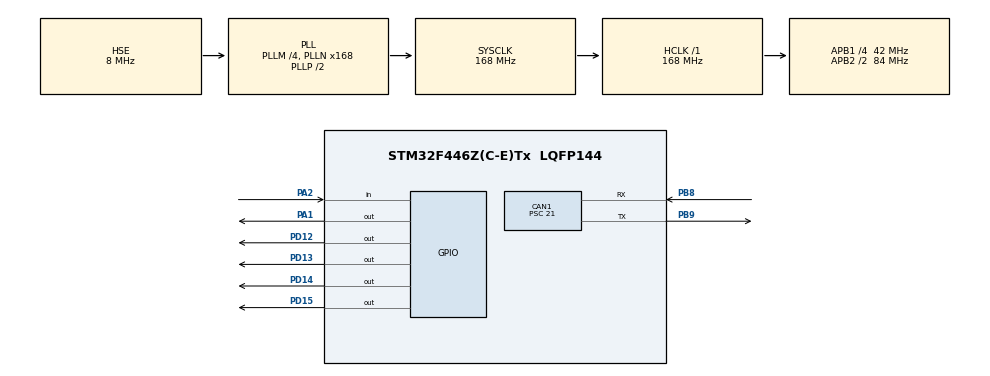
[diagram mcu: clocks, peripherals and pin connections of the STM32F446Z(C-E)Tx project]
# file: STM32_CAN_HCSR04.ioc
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CAN1.BS1=CAN_BS1_4TQ
CAN1.BS2=CAN_BS2_3TQ
CAN1.CalculateBaudRate=250000
CAN1.CalculateTimeBit=4000
CAN1.CalculateTimeQuantum=500.0
CAN1.Prescaler=21
Mcu.Family=STM32F4
Mcu.Name=STM32F446Z(C-E)Tx
Mcu.Package=LQFP144
NVIC.PriorityGroup=NVIC_PRIORITYGROUP_4
PA1.Signal=GPIO_Output
PA13.Mode=Serial_Wire
PA13.Signal=SYS_JTMS-SWDIO
PA14.Mode=Serial_Wire
PA14.Signal=SYS_JTCK-SWCLK
PA2.Signal=GPIO_Input
PB8.Mode=CAN_Activate
PB8.Signal=CAN1_RX
PB9.Mode=CAN_Activate
PB9.Signal=CAN1_TX
PD12.Signal=GPIO_Output
PD13.Signal=GPIO_Output
PD14.Signal=GPIO_Output
PD15.Signal=GPIO_Output
PH0-OSC_IN.Mode=HSE-External-Oscillator
PH0-OSC_IN.Signal=RCC_OSC_IN
PH1-OSC_OUT.Mode=HSE-External-Oscillator
PH1-OSC_OUT.Signal=RCC_OSC_OUT
ProjectManager.HeapSize=0x200
ProjectManager.StackSize=0x400
ProjectManager.TargetToolchain=STM32CubeIDE
RCC.AHBFreq_Value=168000000
RCC.APB1CLKDivider=RCC_HCLK_DIV4
RCC.APB1Freq_Value=42000000
RCC.APB1TimFreq_Value=84000000
RCC.APB2CLKDivider=RCC_HCLK_DIV2
RCC.APB2Freq_Value=84000000
RCC.APB2TimFreq_Value=168000000
RCC.CortexFreq_Value=168000000
RCC.HCLKFreq_Value=168000000
RCC.HSE_VALUE=8000000
RCC.PLLM=4
RCC.PLLN=168
RCC.PLLSourceVirtual=RCC_PLLSOURCE_HSE
RCC.SYSCLKFreq_VALUE=168000000
RCC.SYSCLKSource=RCC_SYSCLKSOURCE_PLLCLK
RCC.USBFreq_Value=168000000
RCC.VCOOutputFreq_Value=336000000
board=custom

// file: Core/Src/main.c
/* USER CODE BEGIN Header */
/**
  ******************************************************************************
  * @file           : main.c
  * @brief          : Main program body
  ******************************************************************************
  * @attention
  *
  * Copyright (c) 2024 STMicroelectronics.
  * All rights reserved.
  *
  * This software is licensed under terms that can be found in the LICENSE file
  * in the root directory of this software component.
  * If no LICENSE file comes with this software, it is provided AS-IS.
  *
  ******************************************************************************
  */
/* USER CODE END Header */
#include "main.h"

/* USER CODE BEGIN Includes */
#include  "dwt_stm32_delay.h"

/* USER CODE END Includes */

CAN_HandleTypeDef hcan1;

/* USER CODE BEGIN PV */

CAN_TxHeaderTypeDef pHeader;

uint32_t mTxMailbox;
uint32_t sensor_time;
uint32_t distance[2];

/* USER CODE END PV */

void SystemClock_Config(void);
static void MX_GPIO_Init(void);
static void MX_CAN1_Init(void);

/* USER CODE BEGIN 0 */

uint32_t Read_HCSR04()
{
	uint32_t local_time = 0;

	HAL_GPIO_WritePin(GPIOA, GPIO_PIN_1, GPIO_PIN_SET);
	DWT_Delay_us(10);
	HAL_GPIO_WritePin(GPIOA, GPIO_PIN_1, GPIO_PIN_RESET);

	while(! (HAL_GPIO_ReadPin(GPIOA, GPIO_PIN_2)));

	while(HAL_GPIO_ReadPin(GPIOA, GPIO_PIN_2))
	{
		local_time ++;
		DWT_Delay_us(1);
	}
	return local_time * 2;
}

/* USER CODE END 0 */

int main(void)
{

  /* MCU Configuration--------------------------------------------------------*/

  /* Reset of all peripherals, Initializes the Flash interface and the Systick. */
  HAL_Init();

  /* Configure the system clock */
  SystemClock_Config();

  /* Initialize all configured peripherals */
  MX_GPIO_Init();
  MX_CAN1_Init();
  /* USER CODE BEGIN 2 */
  DWT_Delay_Init();

  /* USER CODE END 2 */

  /* Infinite loop */
  while (1)
  {

    /* USER CODE BEGIN 3 */
	  sensor_time = Read_HCSR04();
	  distance[0] = sensor_time / 58 ; // farklı kullanımı sensor_tıme * 0.034/2;

	  HAL_CAN_AddTxMessage(&hcan1, &pHeader, (uint8_t*)distance, mTxMailbox);
  }
  /* USER CODE END 3 */
}

void SystemClock_Config(void)
{
  RCC_OscInitTypeDef RCC_OscInitStruct = {0};
  RCC_ClkInitTypeDef RCC_ClkInitStruct = {0};

  /** Configure the main internal regulator output voltage
  */
  __HAL_RCC_PWR_CLK_ENABLE();
  __HAL_PWR_VOLTAGESCALING_CONFIG(PWR_REGULATOR_VOLTAGE_SCALE1);

  /** Initializes the RCC Oscillators according to the specified parameters
  * in the RCC_OscInitTypeDef structure.
  */
  RCC_OscInitStruct.OscillatorType = RCC_OSCILLATORTYPE_HSE;
  RCC_OscInitStruct.HSEState = RCC_HSE_ON;
  RCC_OscInitStruct.PLL.PLLState = RCC_PLL_ON;
  RCC_OscInitStruct.PLL.PLLSource = RCC_PLLSOURCE_HSE;
  RCC_OscInitStruct.PLL.PLLM = 4;
  RCC_OscInitStruct.PLL.PLLN = 168;
  RCC_OscInitStruct.PLL.PLLP = RCC_PLLP_DIV2;
  RCC_OscInitStruct.PLL.PLLQ = 2;
  RCC_OscInitStruct.PLL.PLLR = 2;
  if (HAL_RCC_OscConfig(&RCC_OscInitStruct) != HAL_OK)
  {
    Error_Handler();
  }

  /** Initializes the CPU, AHB and APB buses clocks
  */
  RCC_ClkInitStruct.ClockType = RCC_CLOCKTYPE_HCLK|RCC_CLOCKTYPE_SYSCLK
                              |RCC_CLOCKTYPE_PCLK1|RCC_CLOCKTYPE_PCLK2;
  RCC_ClkInitStruct.SYSCLKSource = RCC_SYSCLKSOURCE_PLLCLK;
  RCC_ClkInitStruct.AHBCLKDivider = RCC_SYSCLK_DIV1;
  RCC_ClkInitStruct.APB1CLKDivider = RCC_HCLK_DIV4;
  RCC_ClkInitStruct.APB2CLKDivider = RCC_HCLK_DIV2;

  if (HAL_RCC_ClockConfig(&RCC_ClkInitStruct, FLASH_LATENCY_5) != HAL_OK)
  {
    Error_Handler();
  }
}

static void MX_CAN1_Init(void)
{

  hcan1.Instance = CAN1;
  hcan1.Init.Prescaler = 21;
  hcan1.Init.Mode = CAN_MODE_NORMAL;
  hcan1.Init.SyncJumpWidth = CAN_SJW_1TQ;
  hcan1.Init.TimeSeg1 = CAN_BS1_4TQ;
  hcan1.Init.TimeSeg2 = CAN_BS2_3TQ;
  hcan1.Init.TimeTriggeredMode = DISABLE;
  hcan1.Init.AutoBusOff = DISABLE;
  hcan1.Init.AutoWakeUp = DISABLE;
  hcan1.Init.AutoRetransmission = DISABLE;
  hcan1.Init.ReceiveFifoLocked = DISABLE;
  hcan1.Init.TransmitFifoPriority = DISABLE;
  if (HAL_CAN_Init(&hcan1) != HAL_OK)
  {
    Error_Handler();
  }

}

static void MX_GPIO_Init(void)
{
  GPIO_InitTypeDef GPIO_InitStruct = {0};

  /* GPIO Ports Clock Enable */
  __HAL_RCC_GPIOH_CLK_ENABLE();
  __HAL_RCC_GPIOA_CLK_ENABLE();
  __HAL_RCC_GPIOD_CLK_ENABLE();
  __HAL_RCC_GPIOB_CLK_ENABLE();

  /*Configure GPIO pin Output Level */
  HAL_GPIO_WritePin(GPIOA, GPIO_PIN_1, GPIO_PIN_RESET);

  /*Configure GPIO pin Output Level */
  HAL_GPIO_WritePin(GPIOD, GPIO_PIN_12|GPIO_PIN_13|GPIO_PIN_14|GPIO_PIN_15, GPIO_PIN_RESET);

  /*Configure GPIO pin : PA1 */
  GPIO_InitStruct.Pin = GPIO_PIN_1;
  GPIO_InitStruct.Mode = GPIO_MODE_OUTPUT_PP;
  GPIO_InitStruct.Pull = GPIO_NOPULL;
  GPIO_InitStruct.Speed = GPIO_SPEED_FREQ_LOW;
  HAL_GPIO_Init(GPIOA, &GPIO_InitStruct);

  /*Configure GPIO pin : PA2 */
  GPIO_InitStruct.Pin = GPIO_PIN_2;
  GPIO_InitStruct.Mode = GPIO_MODE_INPUT;
  GPIO_InitStruct.Pull = GPIO_NOPULL;
  HAL_GPIO_Init(GPIOA, &GPIO_InitStruct);

  /*Configure GPIO pins : PD12 PD13 PD14 PD15 */
  GPIO_InitStruct.Pin = GPIO_PIN_12|GPIO_PIN_13|GPIO_PIN_14|GPIO_PIN_15;
  GPIO_InitStruct.Mode = GPIO_MODE_OUTPUT_PP;
  GPIO_InitStruct.Pull = GPIO_NOPULL;
  GPIO_InitStruct.Speed = GPIO_SPEED_FREQ_LOW;
  HAL_GPIO_Init(GPIOD, &GPIO_InitStruct);

}

void Error_Handler(void)
{
  __disable_irq();
  while (1)
  {
  }
}
